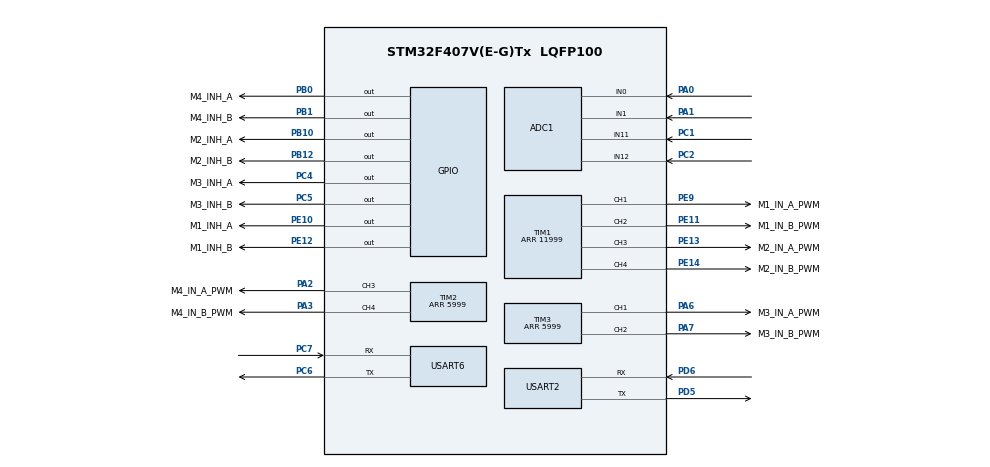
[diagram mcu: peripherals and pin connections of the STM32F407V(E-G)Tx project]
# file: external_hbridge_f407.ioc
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ADC1.Channel-0\#ChannelRegularConversion=ADC_CHANNEL_0
ADC1.Channel-1\#ChannelRegularConversion=ADC_CHANNEL_1
ADC1.Channel-2\#ChannelRegularConversion=ADC_CHANNEL_12
ADC1.Channel-3\#ChannelRegularConversion=ADC_CHANNEL_11
ADC1.DMAContinuousRequests=ENABLE
ADC1.DiscontinuousConvMode=DISABLE
ADC1.EOCSelection=ADC_EOC_SEQ_CONV
ADC1.ExternalTrigConv=ADC_EXTERNALTRIGCONV_T8_TRGO
ADC1.ExternalTrigConvEdge=ADC_EXTERNALTRIGCONVEDGE_RISING
ADC1.InjNumberOfConversion=0
ADC1.NbrOfConversion=4
ADC1.NbrOfConversionFlag=1
ADC1.Rank-0\#ChannelRegularConversion=1
ADC1.Rank-1\#ChannelRegularConversion=2
ADC1.Rank-2\#ChannelRegularConversion=3
ADC1.Rank-3\#ChannelRegularConversion=4
ADC1.SamplingTime-0\#ChannelRegularConversion=ADC_SAMPLETIME_56CYCLES
ADC1.SamplingTime-1\#ChannelRegularConversion=ADC_SAMPLETIME_56CYCLES
ADC1.SamplingTime-2\#ChannelRegularConversion=ADC_SAMPLETIME_56CYCLES
ADC1.SamplingTime-3\#ChannelRegularConversion=ADC_SAMPLETIME_56CYCLES
ADC1.ScanConvMode=ENABLE
ADC1.master=1
Dma.ADC1.0.Direction=DMA_PERIPH_TO_MEMORY
Dma.ADC1.0.FIFOMode=DMA_FIFOMODE_DISABLE
Dma.ADC1.0.Instance=DMA2_Stream4
Dma.ADC1.0.MemDataAlignment=DMA_MDATAALIGN_HALFWORD
Dma.ADC1.0.MemInc=DMA_MINC_ENABLE
Dma.ADC1.0.Mode=DMA_CIRCULAR
Dma.ADC1.0.PeriphDataAlignment=DMA_PDATAALIGN_HALFWORD
Dma.ADC1.0.PeriphInc=DMA_PINC_DISABLE
Dma.ADC1.0.Priority=DMA_PRIORITY_HIGH
Dma.Request0=ADC1
FREERTOS.Tasks01=defaultTask,24,384,StartDefaultTask,Default,NULL,Dynamic,NULL,NULL;currentTask,32,384,Current_Task,As external,NULL,Dynamic,NULL,NULL
Mcu.Family=STM32F4
Mcu.Name=STM32F407V(E-G)Tx
Mcu.Package=LQFP100
NVIC.DMA2_Stream4_IRQn=true\:5\:0\:false\:false\:true\:true\:false\:true\:true
NVIC.PriorityGroup=NVIC_PRIORITYGROUP_4
NVIC.TIM6_DAC_IRQn=true\:15\:0\:false\:false\:true\:false\:false\:true\:true
NVIC.TimeBase=TIM6_DAC_IRQn
NVIC.TimeBaseIP=TIM6
NVIC.USART2_IRQn=true\:5\:0\:false\:false\:true\:true\:true\:true\:true
PA0-WKUP.Signal=ADCx_IN0
PA1.Signal=ADCx_IN1
PA13.Mode=Serial_Wire
PA13.Signal=SYS_JTMS-SWDIO
PA14.Mode=Serial_Wire
PA14.Signal=SYS_JTCK-SWCLK
PA2.GPIO_Label=M4_IN_A_PWM
PA2.Signal=S_TIM2_CH3
PA3.GPIO_Label=M4_IN_B_PWM
PA3.Signal=S_TIM2_CH4
PA5.Signal=S_TIM2_CH1_ETR
PA6.GPIO_Label=M3_IN_A_PWM
PA6.Signal=S_TIM3_CH1
PA7.GPIO_Label=M3_IN_B_PWM
PA7.Signal=S_TIM3_CH2
PB0.GPIO_Label=M4_INH_A
PB0.Signal=GPIO_Output
PB1.GPIO_Label=M4_INH_B
PB1.Signal=GPIO_Output
PB10.GPIO_Label=M2_INH_A
PB10.Signal=GPIO_Output
PB12.GPIO_Label=M2_INH_B
PB12.Signal=GPIO_Output
PB3.Signal=S_TIM2_CH2
PC1.Signal=ADCx_IN11
PC2.Signal=ADCx_IN12
PC4.GPIO_Label=M3_INH_A
PC4.Signal=GPIO_Output
PC5.GPIO_Label=M3_INH_B
PC5.Signal=GPIO_Output
PC6.Mode=Asynchronous
PC6.Signal=USART6_TX
PC7.Mode=Asynchronous
PC7.Signal=USART6_RX
PD5.Mode=Asynchronous
PD5.Signal=USART2_TX
PD6.Mode=Asynchronous
PD6.Signal=USART2_RX
PE10.GPIO_Label=M1_INH_A
PE10.Signal=GPIO_Output
PE11.GPIO_Label=M1_IN_B_PWM
PE11.Signal=S_TIM1_CH2
PE12.GPIO_Label=M1_INH_B
PE12.Signal=GPIO_Output
PE13.GPIO_Label=M2_IN_A_PWM
PE13.Signal=S_TIM1_CH3
PE14.GPIO_Label=M2_IN_B_PWM
PE14.Signal=S_TIM1_CH4
PE9.GPIO_Label=M1_IN_A_PWM
PE9.Signal=S_TIM1_CH1
ProjectManager.HeapSize=0x200
ProjectManager.StackSize=0x400
ProjectManager.TargetToolchain=CMake
RCC.48MHZClocksFreq_Value=84000000
RCC.AHBFreq_Value=168000000
RCC.APB1CLKDivider=RCC_HCLK_DIV4
RCC.APB1Freq_Value=42000000
RCC.APB1TimFreq_Value=84000000
RCC.APB2CLKDivider=RCC_HCLK_DIV2
RCC.APB2Freq_Value=84000000
RCC.APB2TimFreq_Value=168000000
RCC.CortexFreq_Value=168000000
RCC.HCLKFreq_Value=168000000
RCC.HSE_VALUE=25000000
RCC.HSI_VALUE=16000000
RCC.LSE_VALUE=32768
RCC.PLLN=336
RCC.PWREXT_OverDrive=PWREXT_OverDrive_ACTIVATED
RCC.SYSCLKFreq_VALUE=168000000
RCC.SYSCLKSource=RCC_SYSCLKSOURCE_PLLCLK
RCC.VCOOutputFreq_Value=336000000
SH.ADCx_IN0.0=ADC1_IN0,IN0
SH.ADCx_IN1.0=ADC1_IN1,IN1
SH.ADCx_IN11.0=ADC1_IN11,IN11
SH.ADCx_IN12.0=ADC1_IN12,IN12
SH.S_TIM1_CH1.0=TIM1_CH1,PWM Generation1 CH1
SH.S_TIM1_CH2.0=TIM1_CH2,PWM Generation2 CH2
SH.S_TIM1_CH3.0=TIM1_CH3,PWM Generation3 CH3
SH.S_TIM1_CH4.0=TIM1_CH4,PWM Generation4 CH4
SH.S_TIM2_CH1_ETR.0=TIM2_CH1
SH.S_TIM2_CH2.0=TIM2_CH2
SH.S_TIM2_CH3.0=TIM2_CH3,PWM Generation3 CH3
SH.S_TIM2_CH4.0=TIM2_CH4,PWM Generation4 CH4
SH.S_TIM3_CH1.0=TIM3_CH1,PWM Generation1 CH1
SH.S_TIM3_CH2.0=TIM3_CH2,PWM Generation2 CH2
TIM1.AutoReloadPreload=TIM_AUTORELOAD_PRELOAD_ENABLE
TIM1.Channel-PWM\ Generation1\ CH1=TIM_CHANNEL_1
TIM1.Channel-PWM\ Generation2\ CH2=TIM_CHANNEL_2
TIM1.Channel-PWM\ Generation3\ CH3=TIM_CHANNEL_3
TIM1.Channel-PWM\ Generation4\ CH4=TIM_CHANNEL_4
TIM1.Period=11999
TIM2.AutoReloadPreload=TIM_AUTORELOAD_PRELOAD_ENABLE
TIM2.Channel-PWM\ Generation3\ CH3=TIM_CHANNEL_3
TIM2.Channel-PWM\ Generation4\ CH4=TIM_CHANNEL_4
TIM2.Period=5999
TIM3.AutoReloadPreload=TIM_AUTORELOAD_PRELOAD_ENABLE
TIM3.Channel-PWM\ Generation1\ CH1=TIM_CHANNEL_1
TIM3.Channel-PWM\ Generation2\ CH2=TIM_CHANNEL_2
TIM3.Period=5999
TIM8.Period=3169
TIM8.TIM_MasterOutputTrigger=TIM_TRGO_UPDATE
TIM8.TIM_MasterSlaveMode=TIM_MASTERSLAVEMODE_DISABLE
USART2.VirtualMode=VM_ASYNC
USART6.VirtualMode=VM_ASYNC
VP_FREERTOS_VS_CMSIS_V2.Mode=CMSIS_V2
VP_SYS_VS_tim6.Mode=TIM6
VP_TIM1_VS_ClockSourceINT.Mode=Internal
VP_TIM2_VS_ClockSourceINT.Mode=Internal
VP_TIM8_VS_ClockSourceINT.Mode=Internal
board=custom

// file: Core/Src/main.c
/* USER CODE BEGIN Header */
/**
  ******************************************************************************
  * @file           : main.c
  * @brief          : Main program body
  ******************************************************************************
  * @attention
  *
  * Copyright (c) 2026 STMicroelectronics.
  * All rights reserved.
  *
  * This software is licensed under terms that can be found in the LICENSE file
  * in the root directory of this software component.
  * If no LICENSE file comes with this software, it is provided AS-IS.
  *
  ******************************************************************************
  */
/* USER CODE END Header */
#include "main.h"
#include "cmsis_os.h"
#include "adc.h"
#include "dma.h"
#include "tim.h"
#include "usart.h"
#include "gpio.h"

/* USER CODE BEGIN Includes */
#include "current.h"
#include "motor_bts.h"
#include "app_control.h"
#include "vehicle_control.h"
#include "usart6_log.h"

/* USER CODE END Includes */

void SystemClock_Config(void);
void MX_FREERTOS_Init(void);

int main(void)
{

  /* MCU Configuration--------------------------------------------------------*/

  /* Reset of all peripherals, Initializes the Flash interface and the Systick. */
  HAL_Init();

  /* Configure the system clock */
  SystemClock_Config();

  /* Initialize all configured peripherals */
  MX_GPIO_Init();
  MX_DMA_Init();
  MX_TIM1_Init();
  MX_TIM2_Init();
  MX_ADC1_Init();
  MX_USART6_UART_Init();
  MX_USART2_UART_Init();
  MX_TIM3_Init();
  MX_TIM8_Init();
  /* USER CODE BEGIN 2 */

  /*
   * MX_USART6_UART_Init() ở phía trên đã cấu hình PC6 = TX, PC7 = RX và
   * 115200-8N1. Bây giờ mới khởi tạo ring buffer/ngắt TXE của usart6_log.c.
   * Phải giữ đúng thứ tự này; gọi Usart6Log_Init() trước khi bật peripheral sẽ
   * không thể phát dòng READY ra Serial Monitor.
   */
  Usart6Log_Init();
  MotorBts_InitSafe();
  Current_Init();
  AppControl_Init();
  VehicleControl_Init();

  /* USER CODE END 2 */

  /* Init scheduler */
  osKernelInitialize();  /* Call init function for freertos objects (in cmsis_os2.c) */
  MX_FREERTOS_Init();

  /* Start scheduler */
  osKernelStart();

  /* We should never get here as control is now taken by the scheduler */

  /* Infinite loop */
  while (1)
  {

  }
}

void SystemClock_Config(void)
{
  LL_FLASH_SetLatency(LL_FLASH_LATENCY_5);
  while(LL_FLASH_GetLatency()!= LL_FLASH_LATENCY_5)
  {
  }
  LL_PWR_SetRegulVoltageScaling(LL_PWR_REGU_VOLTAGE_SCALE1);
  LL_RCC_HSI_SetCalibTrimming(16);
  LL_RCC_HSI_Enable();

   /* Wait till HSI is ready */
  while(LL_RCC_HSI_IsReady() != 1)
  {

  }
  LL_RCC_PLL_ConfigDomain_SYS(LL_RCC_PLLSOURCE_HSI, LL_RCC_PLLM_DIV_16, 336, LL_RCC_PLLP_DIV_2);
  LL_RCC_PLL_Enable();

   /* Wait till PLL is ready */
  while(LL_RCC_PLL_IsReady() != 1)
  {

  }
  while (LL_PWR_IsActiveFlag_VOS() == 0)
  {
  }
  LL_RCC_SetAHBPrescaler(LL_RCC_SYSCLK_DIV_1);
  LL_RCC_SetAPB1Prescaler(LL_RCC_APB1_DIV_4);
  LL_RCC_SetAPB2Prescaler(LL_RCC_APB2_DIV_2);
  LL_RCC_SetSysClkSource(LL_RCC_SYS_CLKSOURCE_PLL);

   /* Wait till System clock is ready */
  while(LL_RCC_GetSysClkSource() != LL_RCC_SYS_CLKSOURCE_STATUS_PLL)
  {

  }
  LL_SetSystemCoreClock(168000000);

   /* Update the time base */
  if (HAL_InitTick (TICK_INT_PRIORITY) != HAL_OK)
  {
    Error_Handler();
  }
}

void HAL_TIM_PeriodElapsedCallback(TIM_HandleTypeDef *htim)
{
  if (htim->Instance == TIM6)
  {
    HAL_IncTick();
  }
}

void Error_Handler(void)
{
  __disable_irq();
  while (1)
  {
  }
}

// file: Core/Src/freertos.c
/* USER CODE BEGIN Header */
/**
  ******************************************************************************
  * File Name          : freertos.c
  * Description        : Code for freertos applications
  ******************************************************************************
  * @attention
  *
  * Copyright (c) 2026 STMicroelectronics.
  * All rights reserved.
  *
  * This software is licensed under terms that can be found in the LICENSE file
  * in the root directory of this software component.
  * If no LICENSE file comes with this software, it is provided AS-IS.
  *
  ******************************************************************************
  */
/* USER CODE END Header */

#include "FreeRTOS.h"
#include "task.h"
#include "main.h"
#include "cmsis_os.h"

/* USER CODE BEGIN Includes */
#include "current.h"
#include "app_control.h"
#include "vehicle_control.h"
#include "usart6_log.h"

/* USER CODE END Includes */

/* Definitions for defaultTask */
osThreadId_t defaultTaskHandle;
const osThreadAttr_t defaultTask_attributes = {
  .name = "defaultTask",
  .stack_size = 384 * 4,
  .priority = (osPriority_t) osPriorityNormal,
};
/* Definitions for currentTask */
osThreadId_t currentTaskHandle;
const osThreadAttr_t currentTask_attributes = {
  .name = "currentTask",
  .stack_size = 384 * 4,
  .priority = (osPriority_t) osPriorityAboveNormal,
};

void StartDefaultTask(void *argument);
extern void Current_Task(void *argument);

void MX_FREERTOS_Init(void); /* (MISRA C 2004 rule 8.1) */

void MX_FREERTOS_Init(void) {

  /* Create the thread(s) */
  /* creation of defaultTask */
  defaultTaskHandle = osThreadNew(StartDefaultTask, NULL, &defaultTask_attributes);

  /* creation of currentTask */
  currentTaskHandle = osThreadNew(Current_Task, NULL, &currentTask_attributes);

}

void StartDefaultTask(void *argument)
{
  /* USER CODE BEGIN StartDefaultTask */
  CurrentSense_Snapshot_t current_snapshot;
  TickType_t last_current_log_tick;
  TickType_t now_tick;
  (void)argument;
  last_current_log_tick = xTaskGetTickCount();
  /* Infinite loop */
  for (;;)
{
    VehicleControl_Input_t vehicle_input = {0};

    AppControl_Process();

    (void)AppControl_GetSnapshot(&vehicle_input.app);

    VehicleControl_Update(&vehicle_input);

    now_tick = xTaskGetTickCount();

    if ((TickType_t)(now_tick - last_current_log_tick) >=
        pdMS_TO_TICKS(500U))
    {
        Current_GetSnapshot(&current_snapshot);
        Usart6Log_CurrentSnapshot(&current_snapshot);

        last_current_log_tick = now_tick;
    }

    Usart6Log_Process();
    osDelay(1);
}
  /* USER CODE END StartDefaultTask */
}
